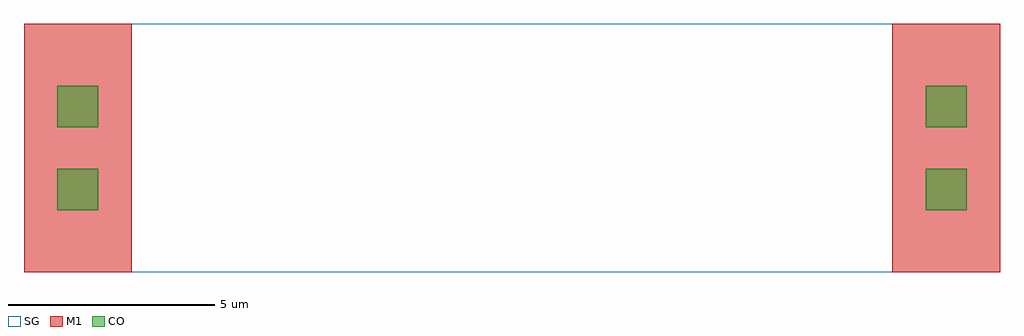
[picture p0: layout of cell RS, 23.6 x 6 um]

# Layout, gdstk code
import gdstk
lib = gdstk.Library(unit=1e-6, precision=1e-09)
def R(c, l, rs):  # rectangles x0, y0, x1, y1
    for r in rs: c.add(gdstk.rectangle(r[:2], r[2:], *l))
SG = (8, 0)
CO = (11, 0)
M1 = (13, 0)

c_rs = lib.new_cell('RS')
R(c_rs, SG, [(0,0,23.6,6)])
R(c_rs, CO, [(0.8,1.5,1.8,2.5), (21.8,1.5,22.8,2.5), (0.8,3.5,1.8,4.5), (21.8,3.5,22.8,4.5)])
R(c_rs, M1, [(0,0,2.6,6), (21,0,23.6,6)])

lib.write_gds('RS.gds')
